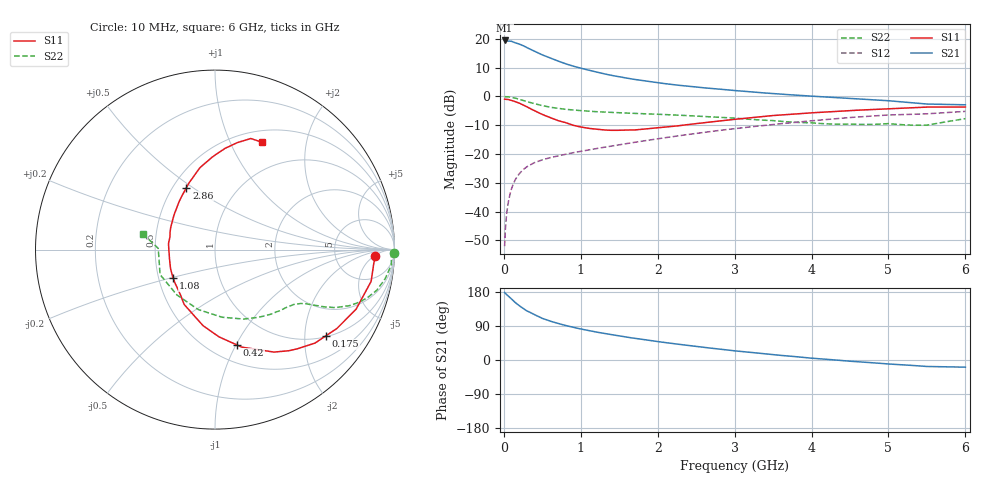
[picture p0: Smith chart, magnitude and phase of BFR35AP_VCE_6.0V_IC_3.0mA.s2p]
! Infineon Technologies  Discrete & RF Semiconductors
! BFR35AP
! VCE =  6.0 V,  IC =  3.0 mA
! Common Emitter S-Parameters:  Nov 2015
# GHz  S  MA  R  50
!  f  S11  S21  S12  S22
! GHz  MAG  ANG  MAG  ANG  MAG  ANG  MAG  ANG
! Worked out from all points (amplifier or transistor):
!   210 points, 10 MHz to 6 GHz, reference 50 ohm
!   highest |S21| = 19.4 dB at 10 MHz (marker M1)
!   |S21| within 3 dB of that: start of sweep to 339.8 MHz
!   unconditionally stable (mu >= 1): 1.031 GHz to 3.338 GHz
!   at 185 MHz: K = 0.28, MSG = 22.9 dB, |S12| = -27.5 dB
!   at 1.52 GHz: K = 1.12, MAG = 9.6 dB, |S12| = -16.7 dB
!   at 6 GHz: K = 0.93, MSG = 1.1 dB, |S12| = -5.2 dB
!   S11 on the Smith chart (normalised r, x): 10 MHz: 16, -6; 175 MHz: 1.03, -2.55; 420 MHz: 0.67, -1.01; 1.08 GHz: 0.60, -0.20; 2.86 GHz: 0.58, +0.47; 6 GHz: 0.63, +1.32
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0.01  0.8948 -2.3  9.344 178.1  0.0025 93.2  0.9972 -1.0
0.02  0.8884 -4.7  9.181 175.8  0.0049 88.1  0.9833 -2.0
0.04  0.8865 -9.2  9.164 172.1  0.01 84.4  0.985 -4.0
0.1  0.8534 -22.9  9.034 160.9  0.0249 78.5  0.9613 -9.8
0.15  0.8089 -32.9  8.502 151.3  0.036 71.6  0.9294 -14.1
0.175  0.783 -37.8  8.28 147.4  0.0405 69.1  0.9098 -15.8
0.2  0.7632 -43.0  8.098 143.4  0.0451 67.1  0.891 -17.5
0.26  0.6974 -53.9  7.487 134.6  0.0545 62.7  0.8403 -20.9
0.3  0.6586 -60.1  7.019 129.5  0.0599 60.7  0.8086 -22.8
0.42  0.5453 -77.0  5.889 117.6  0.0723 55.5  0.7334 -26.1
0.5  0.486 -87.5  5.25 109.8  0.0789 53.5  0.6895 -27.6
0.68  0.39 -106.6  4.223 97.8  0.0909 51.9  0.6251 -29.6
0.8  0.3506 -119.3  3.686 91.1  0.0985 51.5  0.5962 -30.5
1.02  0.2904 -140.1  3.035 80.9  0.1121 51.9  0.5624 -32.3
1.08  0.2814 -146.0  2.898 78.6  0.1158 52.2  0.5548 -33.0
1.6  0.2614 172.2  2.06 60.2  0.1516 53.6  0.512 -38.9
2.02  0.2847 147.1  1.712 48.1  0.1849 53.4  0.4871 -45.5
2.86  0.3804 114.7  1.314 27.5  0.2613 49.5  0.4279 -63.7
3.1  0.4105 108.8  1.23 22.3  0.2845 47.3  0.4081 -70.6
4.1  0.5264 90.0  0.99 3.3  0.3862 36.9  0.3386 -110.2
5.1  0.6162 77.0  0.817 -11.7  0.4786 22.7  0.3271 -160.4
6  0.6527 66.6  0.713 -18.9  0.548 11.6  0.41 167.7
